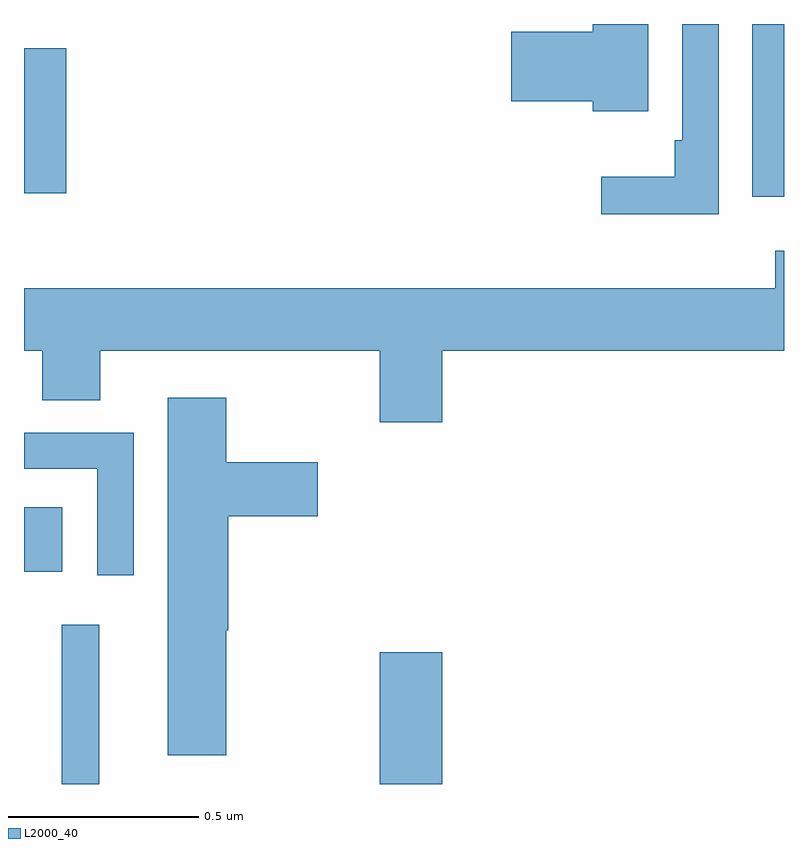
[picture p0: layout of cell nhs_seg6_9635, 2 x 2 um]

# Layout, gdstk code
import gdstk
lib = gdstk.Library(unit=1e-6, precision=1e-09)
def R(c, l, rs):  # rectangles x0, y0, x1, y1
    for r in rs: c.add(gdstk.rectangle(r[:2], r[2:], *l))
def P(c, l, *ps):  # polygons
    for p in ps: c.add(gdstk.Polygon(p, *l))
L2000_40 = (2000, 40)

nhs_seg6_9635 = lib.new_cell('nhs_seg6_9635')
R(nhs_seg6_9635, L2000_40, [(236.099,975.5,236.198,975.919), (236.936,975.5,237.1,975.847), (236,976.058,236.101,976.228), (237.917,977.046,238,977.5), (236,977.055,236.111,977.436)])
P(nhs_seg6_9635, L2000_40, [(237.828,977.5),(237.732,977.5),(237.732,977.194),(237.712,977.194),(237.712,977.098),(237.519,977.098),(237.519,977),(237.828,977)],
  [(237.643,977.5),(237.497,977.5),(237.497,977.48),(237.282,977.48),(237.282,977.297),(237.497,977.297),(237.497,977.27),(237.643,977.27)],
  [(237.1,976.64),(238,976.64),(238,976.903),(237.977,976.903),(237.977,976.804),(236,976.804),(236,976.64),(236.048,976.64),(236.048,976.51),(236.2,976.51),(236.2,976.64),(236.936,976.64),(236.936,976.452),(237.1,976.452)],
  [(236.532,975.905),(236.537,975.905),(236.537,976.205),(236.773,976.205),(236.773,976.347),(236.532,976.347),(236.532,976.516),(236.378,976.516),(236.378,975.576),(236.532,975.576)],
  [(236.289,976.425),(236,976.425),(236,976.329),(236.193,976.329),(236.193,976.05),(236.289,976.05)])

lib.write_gds('nhs_seg6_9635.gds')
